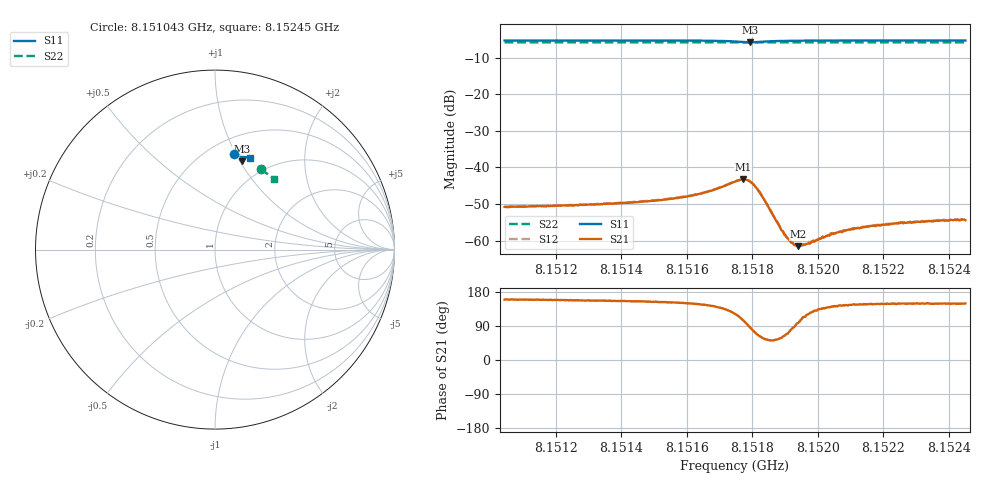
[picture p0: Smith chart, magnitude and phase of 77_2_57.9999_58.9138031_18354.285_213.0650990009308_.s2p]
#  HZ  S  RI  R  50.00
! Rohde & Schwarz Vector Network Analyzer
! Rohde-Schwarz,ZNB20-2Port,1311601062101988,3.16
! Created: UTC 3/21/2024, 12:53:44 AM
! freq[Hz]  re:S11  im:S11  re:S21  im:S21  re:S12  im:S12  re:S22  im:S22
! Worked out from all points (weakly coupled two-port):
!   401 points, 8.151043 GHz to 8.15245 GHz, reference 50 ohm
!   highest |S21| = -43.25 dB at 8.151771 GHz (marker M1); lowest = -61.5 dB at 8.15194 GHz (marker M2)
!   lowest |S11| = -5.8 dB at 8.151793 GHz (marker M3), VSWR 3.12, Z = 38 + j50.9 ohm
!   |S11| at or under -10 dB: nowhere
!   |S22| runs from -5.8 to -5.8 dB; largest |S21 - S12| = 0.00015
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8.1510431e9  0.1071 0.5323  -0.00271 0.00102  -0.00275 0.00103  0.2545 0.447
8.1512789e9  0.1243 0.5287  -0.00284 0.0012  -0.00284 0.00125  0.2673 0.4389
8.1515146e9  0.1424 0.5239  -0.00319 0.00163  -0.00318 0.00164  0.2804 0.4305
8.151592e9  0.1491 0.5213  -0.00342 0.00197  -0.00346 0.00202  0.2844 0.4275
8.1516448e9  0.1546 0.5184  -0.00367 0.00245  -0.00371 0.00252  0.2872 0.4256
8.151687e9  0.1591 0.5147  -0.00391 0.00317  -0.00388 0.00325  0.2895 0.4237
8.1517468e9  0.1628 0.5021  -0.00336 0.00545  -0.00332 0.00556  0.2923 0.4211
8.1517714e9  0.1581 0.4945  -0.00178 0.00664  -0.00169 0.00668  0.2934 0.4201
8.1517925e9  0.1487 0.4929  0.000463 0.00641  0.000517 0.00644  0.294 0.4193
8.1518066e9  0.1431 0.4964  0.00157 0.00543  0.00166 0.00547  0.2946 0.419
8.1518242e9  0.1403 0.5029  0.0021 0.00388  0.00217 0.00393  0.2954 0.4187
8.1518911e9  0.1489 0.5161  0.000683 0.00118  0.000704 0.00116  0.2992 0.4166
8.1519051e9  0.151 0.5168  0.000401 0.00104  0.000403 0.00102  0.3001 0.4161
8.1519227e9  0.1535 0.5174  8.88e-05 0.000935  0.000107 0.000919  0.301 0.4154
8.1519403e9  0.1558 0.5176  -0.00012 0.000832  -0.00015 0.00085  0.3019 0.4147
8.1519544e9  0.1576 0.5177  -0.000345 0.000793  -0.000319 0.000831  0.3027 0.4141
8.1519825e9  0.1605 0.5176  -0.000584 0.000779  -0.000554 0.000782  0.3044 0.4131
8.1520599e9  0.1678 0.5164  -0.00101 0.000807  -0.00106 0.000785  0.3082 0.41
8.1521444e9  0.1748 0.515  -0.00129 0.000841  -0.00129 0.000838  0.3125 0.4067
8.1522183e9  0.1805 0.5133  -0.00144 0.000893  -0.00141 0.00087  0.3162 0.4037
8.1523379e9  0.1892 0.5106  -0.0016 0.00095  -0.00157 0.00098  0.3223 0.3989
8.1524505e9  0.197 0.508  -0.00164 0.000975  -0.00165 0.00106  0.3277 0.394
